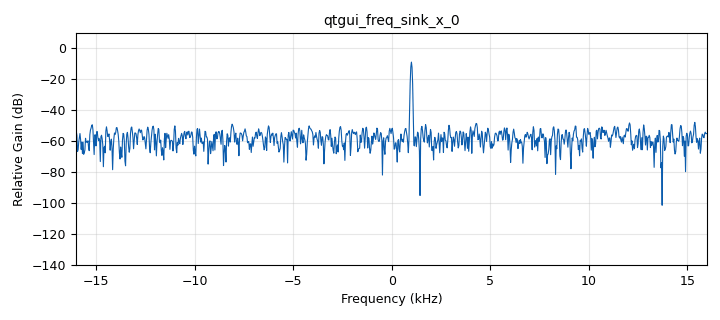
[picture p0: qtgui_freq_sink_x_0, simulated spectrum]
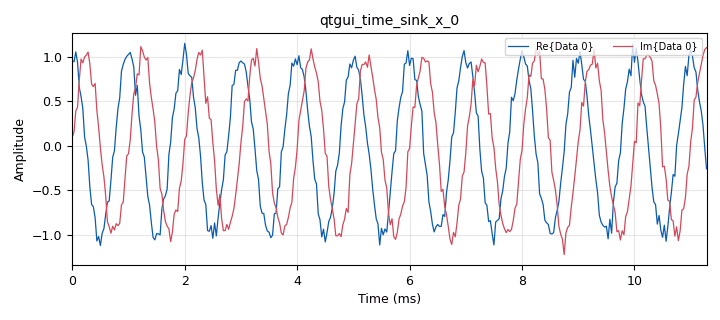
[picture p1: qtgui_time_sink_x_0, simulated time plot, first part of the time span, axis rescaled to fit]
options:
  parameters:
    author: muaddib
    generate_options: qt_gui
    id: siggen_xmlrpc_server
    output_language: python
    title: SIggen and XMLRPC Server
  states: {}

blocks:
- name: amp
  id: variable
  parameters:
    value: '1'
  states: {}
- name: rmt_freq
  id: variable
  parameters:
    comment: |-
      This variable name is used in the 'callback' field of the 
      xmlrpc_client block in  'siggen_controller_xmlrpc_client.grc'
      which gives  that flowgraph remote control over this variable via 
      XMLRPC 'SET' methods. 

      All variables in this flowgraph are callable in the same way due to
      the presence of the XMLRPC Server block.
    value: '1000'
  states: {}
- name: samp_rate
  id: variable
  parameters:
    value: 32e3
  states: {}
- name: analog_noise_source_x_0
  id: analog_noise_source_x
  parameters:
    amp: '0.1'
    noise_type: analog.GR_GAUSSIAN
    seed: '0'
    type: complex
  states: {}
- name: analog_sig_source_x_0
  id: analog_sig_source_x
  parameters:
    amp: amp
    freq: rmt_freq
    offset: '0'
    phase: '0'
    samp_rate: samp_rate
    type: complex
    waveform: analog.GR_COS_WAVE
  states: {}
- name: blocks_add_xx_0
  id: blocks_add_xx
  parameters:
    type: complex
  states: {}
- name: blocks_throttle2_0
  id: blocks_throttle2
  parameters:
    samples_per_second: samp_rate
    type: complex
  states: {}
- name: qtgui_freq_sink_x_0
  id: qtgui_freq_sink_x
  parameters:
    bw: samp_rate
    fc: '0'
    fftsize: '1024'
    type: complex
  states: {}
- name: qtgui_time_sink_x_0
  id: qtgui_time_sink_x
  parameters:
    size: '1024'
    srate: samp_rate
    type: complex
  states: {}
- name: xmlrpc_server_0
  id: xmlrpc_server
  parameters:
    addr: localhost
    port: '8000'
  states: {}

connections:
- [analog_noise_source_x_0, '0', blocks_add_xx_0, '1']
- [analog_sig_source_x_0, '0', blocks_add_xx_0, '0']
- [blocks_add_xx_0, '0', blocks_throttle2_0, '0']
- [blocks_throttle2_0, '0', qtgui_freq_sink_x_0, '0']
- [blocks_throttle2_0, '0', qtgui_time_sink_x_0, '0']

metadata:
  file_format: 1
  grc_version: 3.10.10.0
